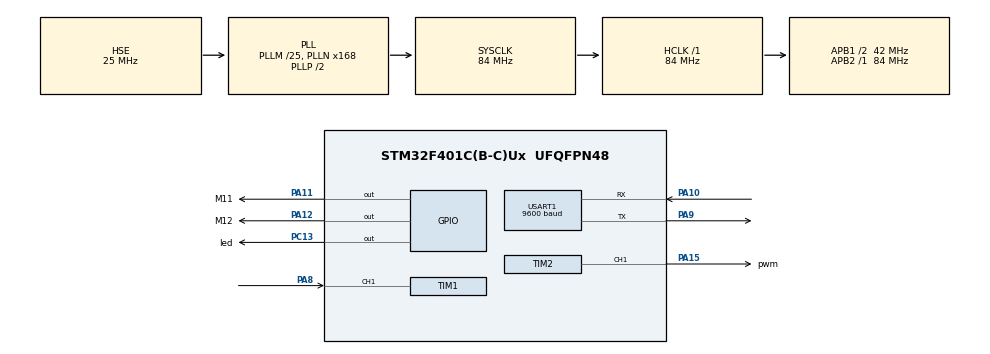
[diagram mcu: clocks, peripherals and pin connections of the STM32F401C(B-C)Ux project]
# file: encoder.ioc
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Dma.Request0=USART1_RX
Dma.USART1_RX.0.Direction=DMA_PERIPH_TO_MEMORY
Dma.USART1_RX.0.FIFOMode=DMA_FIFOMODE_DISABLE
Dma.USART1_RX.0.Instance=DMA2_Stream2
Dma.USART1_RX.0.MemDataAlignment=DMA_MDATAALIGN_BYTE
Dma.USART1_RX.0.MemInc=DMA_MINC_ENABLE
Dma.USART1_RX.0.Mode=DMA_NORMAL
Dma.USART1_RX.0.PeriphDataAlignment=DMA_PDATAALIGN_BYTE
Dma.USART1_RX.0.PeriphInc=DMA_PINC_DISABLE
Dma.USART1_RX.0.Priority=DMA_PRIORITY_LOW
Mcu.Family=STM32F4
Mcu.Name=STM32F401C(B-C)Ux
Mcu.Package=UFQFPN48
NVIC.DMA2_Stream2_IRQn=true\:0\:0\:false\:false\:true\:false\:true\:true
NVIC.PriorityGroup=NVIC_PRIORITYGROUP_4
NVIC.TIM1_CC_IRQn=true\:0\:0\:false\:false\:true\:true\:true\:true
NVIC.USART1_IRQn=true\:0\:0\:false\:false\:true\:true\:true\:true
PA10.Mode=Asynchronous
PA10.Signal=USART1_RX
PA11.GPIO_Label=M11
PA11.Signal=GPIO_Output
PA12.GPIO_Label=M12
PA12.Signal=GPIO_Output
PA15.GPIO_Label=pwm
PA15.Signal=S_TIM2_CH1_ETR
PA8.GPIO_PuPd=GPIO_PULLDOWN
PA8.GPIO_Speed=GPIO_SPEED_FREQ_VERY_HIGH
PA8.Signal=S_TIM1_CH1
PA9.Mode=Asynchronous
PA9.Signal=USART1_TX
PC13-ANTI_TAMP.GPIO_Label=led
PC13-ANTI_TAMP.Signal=GPIO_Output
PH0\ -\ OSC_IN.Mode=HSE-External-Oscillator
PH0\ -\ OSC_IN.Signal=RCC_OSC_IN
PH1\ -\ OSC_OUT.Mode=HSE-External-Oscillator
PH1\ -\ OSC_OUT.Signal=RCC_OSC_OUT
ProjectManager.HeapSize=0x200
ProjectManager.StackSize=0x400
ProjectManager.TargetToolchain=STM32CubeIDE
RCC.48MHZClocksFreq_Value=42000000
RCC.AHBFreq_Value=84000000
RCC.APB1CLKDivider=RCC_HCLK_DIV2
RCC.APB1Freq_Value=42000000
RCC.APB1TimFreq_Value=84000000
RCC.APB2Freq_Value=84000000
RCC.APB2TimFreq_Value=84000000
RCC.CortexFreq_Value=84000000
RCC.HCLKFreq_Value=84000000
RCC.HSE_VALUE=25000000
RCC.HSI_VALUE=16000000
RCC.LSE_VALUE=32768
RCC.PLLM=25
RCC.PLLN=168
RCC.PLLSourceVirtual=RCC_PLLSOURCE_HSE
RCC.SYSCLKFreq_VALUE=84000000
RCC.SYSCLKSource=RCC_SYSCLKSOURCE_PLLCLK
RCC.VCOOutputFreq_Value=168000000
SH.S_TIM1_CH1.0=TIM1_CH1,Input_Capture1_from_TI1
SH.S_TIM2_CH1_ETR.0=TIM2_CH1,PWM Generation1 CH1
TIM1.AutoReloadPreload=TIM_AUTORELOAD_PRELOAD_ENABLE
TIM1.Channel-Input_Capture1_from_TI1=TIM_CHANNEL_1
TIM1.Prescaler=84-1
TIM2.Channel-PWM\ Generation1\ CH1=TIM_CHANNEL_1
TIM2.Period=5000
TIM2.Prescaler=84-1
USART1.BaudRate=9600
USART1.VirtualMode=VM_ASYNC
VP_TIM1_VS_ClockSourceINT.Mode=Internal
VP_TIM2_VS_ClockSourceINT.Mode=Internal
board=custom

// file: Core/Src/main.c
/* USER CODE BEGIN Header */
/**
  ******************************************************************************
  * @file           : main.c
  * @brief          : Main program body
  ******************************************************************************
  * @attention
  *
  * Copyright (c) 2024 STMicroelectronics.
  * All rights reserved.
  *
  * This software is licensed under terms that can be found in the LICENSE file
  * in the root directory of this software component.
  * If no LICENSE file comes with this software, it is provided AS-IS.
  *
  ******************************************************************************
  */
/* USER CODE END Header */
#include "main.h"

/* USER CODE BEGIN Includes */
#include "uart.h"
#include "Frecuencia.h"
#include "PWM.h"
#include "uart_int_idle_dma.h"

#include "stdio.h"
#include "stdlib.h"
#include "stdint.h"
#include "string.h"

/* USER CODE END Includes */

TIM_HandleTypeDef htim1;
TIM_HandleTypeDef htim2;

UART_HandleTypeDef huart1;
DMA_HandleTypeDef hdma_usart1_rx;

/* USER CODE BEGIN PV */
char texto[100];
extern uint32_t frecmuestreo ;
extern uint32_t frec1;
float frecuencia1;

uint16_t  salida_pwm;

uint8_t trama_rx[trama_size];
char flag_rx=0;
uint16_t num_datos;

/* USER CODE END PV */

void SystemClock_Config(void);
static void MX_GPIO_Init(void);
static void MX_DMA_Init(void);
static void MX_TIM1_Init(void);
static void MX_USART1_UART_Init(void);
static void MX_TIM2_Init(void);

/* USER CODE BEGIN 0 */
void motorstop()
{
HAL_GPIO_WritePin(M11_GPIO_Port, M11_Pin, 0);
HAL_GPIO_WritePin(M12_GPIO_Port, M12_Pin, 0);
pwm_valor(&PWM1, 0);
}

void motorset(float velo)
{
	HAL_GPIO_WritePin(M11_GPIO_Port, M11_Pin, 1);
	HAL_GPIO_WritePin(M12_GPIO_Port, M12_Pin, 0);
	pwm_valor(&PWM1, velo);

}

/* USER CODE END 0 */

int main(void)
{

  /* MCU Configuration--------------------------------------------------------*/

  /* Reset of all peripherals, Initializes the Flash interface and the Systick. */
  HAL_Init();

  /* Configure the system clock */
  SystemClock_Config();

  /* Initialize all configured peripherals */
  MX_GPIO_Init();
  MX_DMA_Init();
  MX_TIM1_Init();
  MX_USART1_UART_Init();
  MX_TIM2_Init();
  /* USER CODE BEGIN 2 */
   Frec1_Init();
   PWM_init(&PWMT, PWM1_CH); //INICIA DEL TIMER1 EL CANALPWM1
   uartdat_it_idle_dma_init();

   HAL_GPIO_WritePin(M11_GPIO_Port, M11_Pin, 1);
   HAL_GPIO_WritePin(M12_GPIO_Port, M12_Pin, 0);

//   motorset(2500);
   sprintf(texto,"frec_muestreo=%lu \r\n",frecmuestreo);

   uartx_write_text(&huart1, texto);
//HAL_Delay(4000);
motorstop();
  /* USER CODE END 2 */

  /* Infinite loop */
  /* USER CODE BEGIN WHILE */
  while (1)
  {
	  if(flag_rx==1)
	       {
			 // procesarx();
		  //  uartx_write_text(&huart1, trama_rx);

		    salida_pwm=atoi(trama_rx);//pasa a numero el pwm recibido
			    motorset(salida_pwm);//coloca la señal al motor

		  flag_rx=0;
			 uartdat_it_idle_dma_init();
			 }

	HAL_GPIO_TogglePin(led_GPIO_Port, led_Pin);
	    frecuencia1=frecmuestreo/frec1;

	   //limpia las frecuecnia usadas;
	   frec1=0;
	  sprintf(texto,"RPM=%.1f\r\n",frecuencia1);
	  uartx_write_text(&huart1, texto);
	  HAL_Delay(500);

    /* USER CODE END WHILE */

  }
}

void SystemClock_Config(void)
{
  RCC_OscInitTypeDef RCC_OscInitStruct = {0};
  RCC_ClkInitTypeDef RCC_ClkInitStruct = {0};

  /** Configure the main internal regulator output voltage
  */
  __HAL_RCC_PWR_CLK_ENABLE();
  __HAL_PWR_VOLTAGESCALING_CONFIG(PWR_REGULATOR_VOLTAGE_SCALE2);

  /** Initializes the RCC Oscillators according to the specified parameters
  * in the RCC_OscInitTypeDef structure.
  */
  RCC_OscInitStruct.OscillatorType = RCC_OSCILLATORTYPE_HSE;
  RCC_OscInitStruct.HSEState = RCC_HSE_ON;
  RCC_OscInitStruct.PLL.PLLState = RCC_PLL_ON;
  RCC_OscInitStruct.PLL.PLLSource = RCC_PLLSOURCE_HSE;
  RCC_OscInitStruct.PLL.PLLM = 25;
  RCC_OscInitStruct.PLL.PLLN = 168;
  RCC_OscInitStruct.PLL.PLLP = RCC_PLLP_DIV2;
  RCC_OscInitStruct.PLL.PLLQ = 4;
  if (HAL_RCC_OscConfig(&RCC_OscInitStruct) != HAL_OK)
  {
    Error_Handler();
  }

  /** Initializes the CPU, AHB and APB buses clocks
  */
  RCC_ClkInitStruct.ClockType = RCC_CLOCKTYPE_HCLK|RCC_CLOCKTYPE_SYSCLK
                              |RCC_CLOCKTYPE_PCLK1|RCC_CLOCKTYPE_PCLK2;
  RCC_ClkInitStruct.SYSCLKSource = RCC_SYSCLKSOURCE_PLLCLK;
  RCC_ClkInitStruct.AHBCLKDivider = RCC_SYSCLK_DIV1;
  RCC_ClkInitStruct.APB1CLKDivider = RCC_HCLK_DIV2;
  RCC_ClkInitStruct.APB2CLKDivider = RCC_HCLK_DIV1;

  if (HAL_RCC_ClockConfig(&RCC_ClkInitStruct, FLASH_LATENCY_2) != HAL_OK)
  {
    Error_Handler();
  }
}

static void MX_TIM1_Init(void)
{

  TIM_ClockConfigTypeDef sClockSourceConfig = {0};
  TIM_MasterConfigTypeDef sMasterConfig = {0};
  TIM_IC_InitTypeDef sConfigIC = {0};

  htim1.Instance = TIM1;
  htim1.Init.Prescaler = 84-1;
  htim1.Init.CounterMode = TIM_COUNTERMODE_UP;
  htim1.Init.Period = 65535;
  htim1.Init.ClockDivision = TIM_CLOCKDIVISION_DIV1;
  htim1.Init.RepetitionCounter = 0;
  htim1.Init.AutoReloadPreload = TIM_AUTORELOAD_PRELOAD_ENABLE;
  if (HAL_TIM_Base_Init(&htim1) != HAL_OK)
  {
    Error_Handler();
  }
  sClockSourceConfig.ClockSource = TIM_CLOCKSOURCE_INTERNAL;
  if (HAL_TIM_ConfigClockSource(&htim1, &sClockSourceConfig) != HAL_OK)
  {
    Error_Handler();
  }
  if (HAL_TIM_IC_Init(&htim1) != HAL_OK)
  {
    Error_Handler();
  }
  sMasterConfig.MasterOutputTrigger = TIM_TRGO_RESET;
  sMasterConfig.MasterSlaveMode = TIM_MASTERSLAVEMODE_DISABLE;
  if (HAL_TIMEx_MasterConfigSynchronization(&htim1, &sMasterConfig) != HAL_OK)
  {
    Error_Handler();
  }
  sConfigIC.ICPolarity = TIM_INPUTCHANNELPOLARITY_RISING;
  sConfigIC.ICSelection = TIM_ICSELECTION_DIRECTTI;
  sConfigIC.ICPrescaler = TIM_ICPSC_DIV1;
  sConfigIC.ICFilter = 0;
  if (HAL_TIM_IC_ConfigChannel(&htim1, &sConfigIC, TIM_CHANNEL_1) != HAL_OK)
  {
    Error_Handler();
  }

}

static void MX_TIM2_Init(void)
{

  TIM_ClockConfigTypeDef sClockSourceConfig = {0};
  TIM_MasterConfigTypeDef sMasterConfig = {0};
  TIM_OC_InitTypeDef sConfigOC = {0};

  htim2.Instance = TIM2;
  htim2.Init.Prescaler = 84-1;
  htim2.Init.CounterMode = TIM_COUNTERMODE_UP;
  htim2.Init.Period = 5000;
  htim2.Init.ClockDivision = TIM_CLOCKDIVISION_DIV1;
  htim2.Init.AutoReloadPreload = TIM_AUTORELOAD_PRELOAD_DISABLE;
  if (HAL_TIM_Base_Init(&htim2) != HAL_OK)
  {
    Error_Handler();
  }
  sClockSourceConfig.ClockSource = TIM_CLOCKSOURCE_INTERNAL;
  if (HAL_TIM_ConfigClockSource(&htim2, &sClockSourceConfig) != HAL_OK)
  {
    Error_Handler();
  }
  if (HAL_TIM_PWM_Init(&htim2) != HAL_OK)
  {
    Error_Handler();
  }
  sMasterConfig.MasterOutputTrigger = TIM_TRGO_RESET;
  sMasterConfig.MasterSlaveMode = TIM_MASTERSLAVEMODE_DISABLE;
  if (HAL_TIMEx_MasterConfigSynchronization(&htim2, &sMasterConfig) != HAL_OK)
  {
    Error_Handler();
  }
  sConfigOC.OCMode = TIM_OCMODE_PWM1;
  sConfigOC.Pulse = 0;
  sConfigOC.OCPolarity = TIM_OCPOLARITY_HIGH;
  sConfigOC.OCFastMode = TIM_OCFAST_DISABLE;
  if (HAL_TIM_PWM_ConfigChannel(&htim2, &sConfigOC, TIM_CHANNEL_1) != HAL_OK)
  {
    Error_Handler();
  }
  HAL_TIM_MspPostInit(&htim2);

}

static void MX_USART1_UART_Init(void)
{

  huart1.Instance = USART1;
  huart1.Init.BaudRate = 9600;
  huart1.Init.WordLength = UART_WORDLENGTH_8B;
  huart1.Init.StopBits = UART_STOPBITS_1;
  huart1.Init.Parity = UART_PARITY_NONE;
  huart1.Init.Mode = UART_MODE_TX_RX;
  huart1.Init.HwFlowCtl = UART_HWCONTROL_NONE;
  huart1.Init.OverSampling = UART_OVERSAMPLING_16;
  if (HAL_UART_Init(&huart1) != HAL_OK)
  {
    Error_Handler();
  }

}

static void MX_DMA_Init(void)
{

  /* DMA controller clock enable */
  __HAL_RCC_DMA2_CLK_ENABLE();

  /* DMA interrupt init */
  /* DMA2_Stream2_IRQn interrupt configuration */
  HAL_NVIC_SetPriority(DMA2_Stream2_IRQn, 0, 0);
  HAL_NVIC_EnableIRQ(DMA2_Stream2_IRQn);

}

static void MX_GPIO_Init(void)
{
  GPIO_InitTypeDef GPIO_InitStruct = {0};

  /* GPIO Ports Clock Enable */
  __HAL_RCC_GPIOC_CLK_ENABLE();
  __HAL_RCC_GPIOH_CLK_ENABLE();
  __HAL_RCC_GPIOA_CLK_ENABLE();

  /*Configure GPIO pin Output Level */
  HAL_GPIO_WritePin(led_GPIO_Port, led_Pin, GPIO_PIN_RESET);

  /*Configure GPIO pin Output Level */
  HAL_GPIO_WritePin(GPIOA, M11_Pin|M12_Pin, GPIO_PIN_RESET);

  /*Configure GPIO pin : led_Pin */
  GPIO_InitStruct.Pin = led_Pin;
  GPIO_InitStruct.Mode = GPIO_MODE_OUTPUT_PP;
  GPIO_InitStruct.Pull = GPIO_NOPULL;
  GPIO_InitStruct.Speed = GPIO_SPEED_FREQ_LOW;
  HAL_GPIO_Init(led_GPIO_Port, &GPIO_InitStruct);

  /*Configure GPIO pins : M11_Pin M12_Pin */
  GPIO_InitStruct.Pin = M11_Pin|M12_Pin;
  GPIO_InitStruct.Mode = GPIO_MODE_OUTPUT_PP;
  GPIO_InitStruct.Pull = GPIO_NOPULL;
  GPIO_InitStruct.Speed = GPIO_SPEED_FREQ_LOW;
  HAL_GPIO_Init(GPIOA, &GPIO_InitStruct);

}

void Error_Handler(void)
{
  __disable_irq();
  while (1)
  {
  }
}
